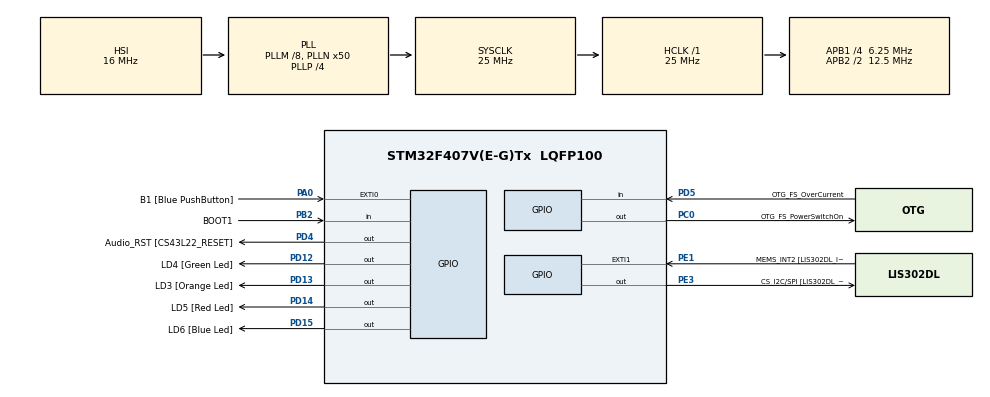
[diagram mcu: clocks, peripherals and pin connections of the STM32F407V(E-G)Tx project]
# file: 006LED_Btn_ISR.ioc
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Mcu.Family=STM32F4
Mcu.Name=STM32F407V(E-G)Tx
Mcu.Package=LQFP100
NVIC.EXTI0_IRQn=true\:6\:0\:true\:false\:true\:true\:true\:true
NVIC.PriorityGroup=NVIC_PRIORITYGROUP_4
NVIC.TIM6_DAC_IRQn=true\:15\:0\:false\:false\:true\:false\:true\:true
NVIC.TimeBase=TIM6_DAC_IRQn
NVIC.TimeBaseIP=TIM6
PA0-WKUP.GPIO_Label=B1 [Blue PushButton]
PA0-WKUP.GPIO_ModeDefaultEXTI=GPIO_MODE_IT_FALLING
PA0-WKUP.Signal=GPXTI0
PA10.GPIO_Label=OTG_FS_ID
PA10.GPIO_Mode=GPIO_MODE_AF_PP
PA10.GPIO_PuPd=GPIO_NOPULL
PA10.GPIO_Speed=GPIO_SPEED_FREQ_LOW
PA10.Signal=USB_OTG_FS_ID
PA11.GPIO_Label=OTG_FS_DM
PA11.GPIO_Mode=GPIO_MODE_AF_PP
PA11.GPIO_PuPd=GPIO_NOPULL
PA11.GPIO_Speed=GPIO_SPEED_FREQ_LOW
PA11.Signal=USB_OTG_FS_DM
PA12.GPIO_Label=OTG_FS_DP
PA12.GPIO_Mode=GPIO_MODE_AF_PP
PA12.GPIO_PuPd=GPIO_NOPULL
PA12.GPIO_Speed=GPIO_SPEED_FREQ_LOW
PA12.Signal=USB_OTG_FS_DP
PA13.GPIO_Label=SWDIO
PA13.Signal=SYS_JTMS-SWDIO
PA14.GPIO_Label=SWCLK
PA14.Signal=SYS_JTCK-SWCLK
PA4.GPIO_Label=I2S3_WS [CS43L22_LRCK]
PA4.GPIO_Mode=GPIO_MODE_AF_PP
PA4.GPIO_PuPd=GPIO_NOPULL
PA4.GPIO_Speed=GPIO_SPEED_FREQ_LOW
PA4.Signal=I2S3_WS
PA5.GPIO_Label=SPI1_SCK [LIS302DL_SCL/SPC]
PA5.GPIO_Mode=GPIO_MODE_AF_PP
PA5.GPIO_PuPd=GPIO_NOPULL
PA5.GPIO_Speed=GPIO_SPEED_FREQ_LOW
PA5.Signal=SPI1_SCK
PA6.GPIO_Label=SPI1_MISO [LIS302DL_SDO]
PA6.GPIO_Mode=GPIO_MODE_AF_PP
PA6.GPIO_PuPd=GPIO_NOPULL
PA6.GPIO_Speed=GPIO_SPEED_FREQ_LOW
PA6.Signal=SPI1_MISO
PA7.GPIO_Label=SPI1_MOSI [LIS302DL_SDA/SDI/SDO]
PA7.GPIO_Mode=GPIO_MODE_AF_PP
PA7.GPIO_PuPd=GPIO_NOPULL
PA7.GPIO_Speed=GPIO_SPEED_FREQ_LOW
PA7.Signal=SPI1_MOSI
PA9.GPIO_Label=VBUS_FS
PA9.GPIO_Mode=GPIO_MODE_INPUT
PA9.GPIO_PuPd=GPIO_NOPULL
PA9.Signal=USB_OTG_FS_VBUS
PB10.GPIO_Label=CLK_IN [MP45DT02_CLK]
PB10.GPIO_Mode=GPIO_MODE_AF_PP
PB10.GPIO_PuPd=GPIO_NOPULL
PB10.GPIO_Speed=GPIO_SPEED_FREQ_LOW
PB10.Signal=I2S2_CK
PB2.GPIO_Label=BOOT1
PB2.GPIO_Mode=GPIO_MODE_INPUT
PB2.GPIO_PuPd=GPIO_NOPULL
PB2.Signal=GPIO_Input
PB3.GPIO_Label=SWO
PB3.Signal=SYS_JTDO-SWO
PB6.GPIO_Label=Audio_SCL [CS43L22_SCL]
PB6.GPIO_Mode=GPIO_MODE_AF_OD
PB6.GPIO_PuPd=GPIO_NOPULL
PB6.GPIO_Speed=GPIO_SPEED_FREQ_LOW
PB6.Signal=I2C1_SCL
PB9.GPIO_Label=Audio_SDA [CS43L22_SDA]
PB9.GPIO_Mode=GPIO_MODE_AF_OD
PB9.GPIO_PuPd=GPIO_NOPULL
PB9.GPIO_Speed=GPIO_SPEED_FREQ_LOW
PB9.Signal=I2C1_SDA
PC0.GPIO_Label=OTG_FS_PowerSwitchOn
PC0.GPIO_PuPd=GPIO_NOPULL
PC0.GPIO_Speed=GPIO_SPEED_FREQ_LOW
PC0.PinState=GPIO_PIN_SET
PC0.Signal=GPIO_Output
PC10.GPIO_Label=I2S3_SCK [CS43L22_SCLK]
PC10.GPIO_Mode=GPIO_MODE_AF_PP
PC10.GPIO_PuPd=GPIO_NOPULL
PC10.GPIO_Speed=GPIO_SPEED_FREQ_LOW
PC10.Signal=I2S3_CK
PC12.GPIO_Label=I2S3_SD [CS43L22_SDIN]
PC12.GPIO_Mode=GPIO_MODE_AF_PP
PC12.GPIO_PuPd=GPIO_NOPULL
PC12.GPIO_Speed=GPIO_SPEED_FREQ_LOW
PC12.Signal=I2S3_SD
PC14-OSC32_IN.GPIO_Label=PC14-OSC32_IN
PC14-OSC32_IN.Signal=RCC_OSC32_IN
PC15-OSC32_OUT.GPIO_Label=PC15-OSC32_OUT
PC15-OSC32_OUT.Signal=RCC_OSC32_OUT
PC3.GPIO_Label=PDM_OUT [MP45DT02_DOUT]
PC3.GPIO_Mode=GPIO_MODE_AF_PP
PC3.GPIO_PuPd=GPIO_NOPULL
PC3.GPIO_Speed=GPIO_SPEED_FREQ_LOW
PC3.Signal=I2S2_SD
PC7.GPIO_Label=I2S3_MCK [CS43L22_MCLK]
PC7.GPIO_Mode=GPIO_MODE_AF_PP
PC7.GPIO_PuPd=GPIO_NOPULL
PC7.GPIO_Speed=GPIO_SPEED_FREQ_LOW
PC7.Signal=I2S3_MCK
PD12.GPIO_Label=LD4 [Green Led]
PD12.GPIO_PuPd=GPIO_NOPULL
PD12.GPIO_Speed=GPIO_SPEED_FREQ_LOW
PD12.Signal=GPIO_Output
PD13.GPIO_Label=LD3 [Orange Led]
PD13.GPIO_PuPd=GPIO_NOPULL
PD13.GPIO_Speed=GPIO_SPEED_FREQ_LOW
PD13.Signal=GPIO_Output
PD14.GPIO_Label=LD5 [Red Led]
PD14.GPIO_PuPd=GPIO_NOPULL
PD14.GPIO_Speed=GPIO_SPEED_FREQ_LOW
PD14.Signal=GPIO_Output
PD15.GPIO_Label=LD6 [Blue Led]
PD15.GPIO_PuPd=GPIO_NOPULL
PD15.GPIO_Speed=GPIO_SPEED_FREQ_LOW
PD15.Signal=GPIO_Output
PD4.GPIO_Label=Audio_RST [CS43L22_RESET]
PD4.GPIO_PuPd=GPIO_NOPULL
PD4.GPIO_Speed=GPIO_SPEED_FREQ_LOW
PD4.Signal=GPIO_Output
PD5.GPIO_Label=OTG_FS_OverCurrent
PD5.GPIO_Mode=GPIO_MODE_INPUT
PD5.GPIO_PuPd=GPIO_NOPULL
PD5.Signal=GPIO_Input
PE1.GPIO_Label=MEMS_INT2 [LIS302DL_INT2]
PE1.GPIO_ModeDefaultEXTI=GPIO_MODE_EVT_RISING
PE1.GPIO_PuPd=GPIO_NOPULL
PE1.Signal=GPXTI1
PE3.GPIO_Label=CS_I2C/SPI [LIS302DL_CS_I2C/SPI]
PE3.GPIO_PuPd=GPIO_NOPULL
PE3.GPIO_Speed=GPIO_SPEED_FREQ_LOW
PE3.Signal=GPIO_Output
PH0-OSC_IN.GPIO_Label=PH0-OSC_IN
PH0-OSC_IN.Signal=RCC_OSC_IN
PH1-OSC_OUT.GPIO_Label=PH1-OSC_OUT
PH1-OSC_OUT.Signal=RCC_OSC_OUT
ProjectManager.HeapSize=0x200
ProjectManager.StackSize=0x400
ProjectManager.TargetToolchain=STM32CubeIDE
RCC.48MHZClocksFreq_Value=14285714.285714285
RCC.AHBFreq_Value=25000000
RCC.APB1CLKDivider=RCC_HCLK_DIV4
RCC.APB1Freq_Value=6250000
RCC.APB1TimFreq_Value=12500000
RCC.APB2CLKDivider=RCC_HCLK_DIV2
RCC.APB2Freq_Value=12500000
RCC.APB2TimFreq_Value=25000000
RCC.CortexFreq_Value=25000000
RCC.HCLKFreq_Value=25000000
RCC.HSE_VALUE=8000000
RCC.HSI_VALUE=16000000
RCC.LSE_VALUE=32768
RCC.PLLM=8
RCC.PLLN=50
RCC.PLLP=RCC_PLLP_DIV4
RCC.PLLQ=7
RCC.SYSCLKFreq_VALUE=25000000
RCC.SYSCLKSource=RCC_SYSCLKSOURCE_PLLCLK
RCC.VCOOutputFreq_Value=100000000
VP_SYS_VS_tim6.Mode=TIM6
board=STM32F407G-DISC1

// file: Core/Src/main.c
/* USER CODE BEGIN Header */
/**
  ******************************************************************************
  * @file           : main.c
  * @brief          : Main program body
  ******************************************************************************
  * @attention
  *
  * <h2><center>&copy; Copyright (c) 2021 STMicroelectronics.
  * All rights reserved.</center></h2>
  *
  * This software component is licensed by ST under BSD 3-Clause license,
  * the "License"; You may not use this file except in compliance with the
  * License. You may obtain a copy of the License at:
  *                        opensource.org/licenses/BSD-3-Clause
  *
  ******************************************************************************
  */
/* USER CODE END Header */
#include "main.h"

/* USER CODE BEGIN Includes */

#include "FreeRTOS.h"
#include "task.h"

/* USER CODE END Includes */

/* USER CODE BEGIN PV */

#define DWT_CTRL    (*(volatile uint32_t*)0xE0001000)

/* USER CODE END PV */

void SystemClock_Config(void);
static void MX_GPIO_Init(void);
/* USER CODE BEGIN PFP */

static void led_green_handler(void* parameters);
static void led_orange_handler(void* parameters);
static void led_red_handler(void* parameters);
static void button_handler(void* parameters);

extern void SEGGER_UART_init(uint32_t);

TaskHandle_t ledg_task_handle;
TaskHandle_t ledo_task_handle;
TaskHandle_t ledr_task_handle;
TaskHandle_t btn_task_handle;

TaskHandle_t volatile next_task_handle = NULL;

/* USER CODE END PFP */

int main(void)
{
  /* USER CODE BEGIN 1 */

	BaseType_t status;

  /* USER CODE END 1 */

  /* MCU Configuration--------------------------------------------------------*/

  /* Reset of all peripherals, Initializes the Flash interface and the Systick. */
  HAL_Init();

  /* Configure the system clock */
  SystemClock_Config();

  /* Initialize all configured peripherals */
  MX_GPIO_Init();
  /* USER CODE BEGIN 2 */

  SEGGER_UART_init(500000);

  //CYCLCNT enable
  DWT_CTRL |= ( 1 << 0);

  SEGGER_SYSVIEW_Conf();

  status = xTaskCreate(led_green_handler, "LED_green_task", 200, NULL, 3, &ledg_task_handle);

  configASSERT(status == pdPASS);

  next_task_handle = ledg_task_handle;

  status = xTaskCreate(led_orange_handler, "LED_orange_task", 200, NULL, 2, &ledo_task_handle);

   configASSERT(status == pdPASS);

  status = xTaskCreate(led_red_handler, "LED_red_task", 200,NULL, 1, &ledr_task_handle);

  configASSERT(status == pdPASS);

  status = xTaskCreate(button_handler, "Button Task", 200, NULL, 4, &btn_task_handle);

  configASSERT(status == pdPASS);

  //start the freeRTOS scheduler
  vTaskStartScheduler();

  /* USER CODE END 2 */

  /* Infinite loop */
  while (1)
  {

  }
}

void SystemClock_Config(void)
{
  RCC_OscInitTypeDef RCC_OscInitStruct = {0};
  RCC_ClkInitTypeDef RCC_ClkInitStruct = {0};

  /** Configure the main internal regulator output voltage
  */
  __HAL_RCC_PWR_CLK_ENABLE();
  __HAL_PWR_VOLTAGESCALING_CONFIG(PWR_REGULATOR_VOLTAGE_SCALE1);

  /** Initializes the RCC Oscillators according to the specified parameters
  * in the RCC_OscInitTypeDef structure.
  */
  RCC_OscInitStruct.OscillatorType = RCC_OSCILLATORTYPE_HSI;
  RCC_OscInitStruct.HSIState = RCC_HSI_ON;
  RCC_OscInitStruct.HSICalibrationValue = RCC_HSICALIBRATION_DEFAULT;
  RCC_OscInitStruct.PLL.PLLState = RCC_PLL_ON;
  RCC_OscInitStruct.PLL.PLLSource = RCC_PLLSOURCE_HSI;
  RCC_OscInitStruct.PLL.PLLM = 8;
  RCC_OscInitStruct.PLL.PLLN = 50;
  RCC_OscInitStruct.PLL.PLLP = RCC_PLLP_DIV4;
  RCC_OscInitStruct.PLL.PLLQ = 7;
  if (HAL_RCC_OscConfig(&RCC_OscInitStruct) != HAL_OK)
  {
    Error_Handler();
  }

  /** Initializes the CPU, AHB and APB buses clocks
  */
  RCC_ClkInitStruct.ClockType = RCC_CLOCKTYPE_HCLK|RCC_CLOCKTYPE_SYSCLK
                              |RCC_CLOCKTYPE_PCLK1|RCC_CLOCKTYPE_PCLK2;
  RCC_ClkInitStruct.SYSCLKSource = RCC_SYSCLKSOURCE_PLLCLK;
  RCC_ClkInitStruct.AHBCLKDivider = RCC_SYSCLK_DIV1;
  RCC_ClkInitStruct.APB1CLKDivider = RCC_HCLK_DIV4;
  RCC_ClkInitStruct.APB2CLKDivider = RCC_HCLK_DIV2;

  if (HAL_RCC_ClockConfig(&RCC_ClkInitStruct, FLASH_LATENCY_0) != HAL_OK)
  {
    Error_Handler();
  }
}

static void MX_GPIO_Init(void)
{
  GPIO_InitTypeDef GPIO_InitStruct = {0};

  /* GPIO Ports Clock Enable */
  __HAL_RCC_GPIOE_CLK_ENABLE();
  __HAL_RCC_GPIOC_CLK_ENABLE();
  __HAL_RCC_GPIOH_CLK_ENABLE();
  __HAL_RCC_GPIOA_CLK_ENABLE();
  __HAL_RCC_GPIOB_CLK_ENABLE();
  __HAL_RCC_GPIOD_CLK_ENABLE();

  /*Configure GPIO pin Output Level */
  HAL_GPIO_WritePin(CS_I2C_SPI_GPIO_Port, CS_I2C_SPI_Pin, GPIO_PIN_RESET);

  /*Configure GPIO pin Output Level */
  HAL_GPIO_WritePin(OTG_FS_PowerSwitchOn_GPIO_Port, OTG_FS_PowerSwitchOn_Pin, GPIO_PIN_SET);

  /*Configure GPIO pin Output Level */
  HAL_GPIO_WritePin(GPIOD, LD4_Pin|LD3_Pin|LD5_Pin|LD6_Pin
                          |Audio_RST_Pin, GPIO_PIN_RESET);

  /*Configure GPIO pin : CS_I2C_SPI_Pin */
  GPIO_InitStruct.Pin = CS_I2C_SPI_Pin;
  GPIO_InitStruct.Mode = GPIO_MODE_OUTPUT_PP;
  GPIO_InitStruct.Pull = GPIO_NOPULL;
  GPIO_InitStruct.Speed = GPIO_SPEED_FREQ_LOW;
  HAL_GPIO_Init(CS_I2C_SPI_GPIO_Port, &GPIO_InitStruct);

  /*Configure GPIO pin : OTG_FS_PowerSwitchOn_Pin */
  GPIO_InitStruct.Pin = OTG_FS_PowerSwitchOn_Pin;
  GPIO_InitStruct.Mode = GPIO_MODE_OUTPUT_PP;
  GPIO_InitStruct.Pull = GPIO_NOPULL;
  GPIO_InitStruct.Speed = GPIO_SPEED_FREQ_LOW;
  HAL_GPIO_Init(OTG_FS_PowerSwitchOn_GPIO_Port, &GPIO_InitStruct);

  /*Configure GPIO pin : PDM_OUT_Pin */
  GPIO_InitStruct.Pin = PDM_OUT_Pin;
  GPIO_InitStruct.Mode = GPIO_MODE_AF_PP;
  GPIO_InitStruct.Pull = GPIO_NOPULL;
  GPIO_InitStruct.Speed = GPIO_SPEED_FREQ_LOW;
  GPIO_InitStruct.Alternate = GPIO_AF5_SPI2;
  HAL_GPIO_Init(PDM_OUT_GPIO_Port, &GPIO_InitStruct);

  /*Configure GPIO pin : B1_Pin */
  GPIO_InitStruct.Pin = B1_Pin;
  GPIO_InitStruct.Mode = GPIO_MODE_IT_RISING;
  GPIO_InitStruct.Pull = GPIO_NOPULL;
  HAL_GPIO_Init(B1_GPIO_Port, &GPIO_InitStruct);

  /*Configure GPIO pin : I2S3_WS_Pin */
  GPIO_InitStruct.Pin = I2S3_WS_Pin;
  GPIO_InitStruct.Mode = GPIO_MODE_AF_PP;
  GPIO_InitStruct.Pull = GPIO_NOPULL;
  GPIO_InitStruct.Speed = GPIO_SPEED_FREQ_LOW;
  GPIO_InitStruct.Alternate = GPIO_AF6_SPI3;
  HAL_GPIO_Init(I2S3_WS_GPIO_Port, &GPIO_InitStruct);

  /*Configure GPIO pins : SPI1_SCK_Pin SPI1_MISO_Pin SPI1_MOSI_Pin */
  GPIO_InitStruct.Pin = SPI1_SCK_Pin|SPI1_MISO_Pin|SPI1_MOSI_Pin;
  GPIO_InitStruct.Mode = GPIO_MODE_AF_PP;
  GPIO_InitStruct.Pull = GPIO_NOPULL;
  GPIO_InitStruct.Speed = GPIO_SPEED_FREQ_LOW;
  GPIO_InitStruct.Alternate = GPIO_AF5_SPI1;
  HAL_GPIO_Init(GPIOA, &GPIO_InitStruct);

  /*Configure GPIO pin : BOOT1_Pin */
  GPIO_InitStruct.Pin = BOOT1_Pin;
  GPIO_InitStruct.Mode = GPIO_MODE_INPUT;
  GPIO_InitStruct.Pull = GPIO_NOPULL;
  HAL_GPIO_Init(BOOT1_GPIO_Port, &GPIO_InitStruct);

  /*Configure GPIO pin : CLK_IN_Pin */
  GPIO_InitStruct.Pin = CLK_IN_Pin;
  GPIO_InitStruct.Mode = GPIO_MODE_AF_PP;
  GPIO_InitStruct.Pull = GPIO_NOPULL;
  GPIO_InitStruct.Speed = GPIO_SPEED_FREQ_LOW;
  GPIO_InitStruct.Alternate = GPIO_AF5_SPI2;
  HAL_GPIO_Init(CLK_IN_GPIO_Port, &GPIO_InitStruct);

  /*Configure GPIO pins : LD4_Pin LD3_Pin LD5_Pin LD6_Pin
                           Audio_RST_Pin */
  GPIO_InitStruct.Pin = LD4_Pin|LD3_Pin|LD5_Pin|LD6_Pin
                          |Audio_RST_Pin;
  GPIO_InitStruct.Mode = GPIO_MODE_OUTPUT_PP;
  GPIO_InitStruct.Pull = GPIO_NOPULL;
  GPIO_InitStruct.Speed = GPIO_SPEED_FREQ_LOW;
  HAL_GPIO_Init(GPIOD, &GPIO_InitStruct);

  /*Configure GPIO pins : I2S3_MCK_Pin I2S3_SCK_Pin I2S3_SD_Pin */
  GPIO_InitStruct.Pin = I2S3_MCK_Pin|I2S3_SCK_Pin|I2S3_SD_Pin;
  GPIO_InitStruct.Mode = GPIO_MODE_AF_PP;
  GPIO_InitStruct.Pull = GPIO_NOPULL;
  GPIO_InitStruct.Speed = GPIO_SPEED_FREQ_LOW;
  GPIO_InitStruct.Alternate = GPIO_AF6_SPI3;
  HAL_GPIO_Init(GPIOC, &GPIO_InitStruct);

  /*Configure GPIO pin : VBUS_FS_Pin */
  GPIO_InitStruct.Pin = VBUS_FS_Pin;
  GPIO_InitStruct.Mode = GPIO_MODE_INPUT;
  GPIO_InitStruct.Pull = GPIO_NOPULL;
  HAL_GPIO_Init(VBUS_FS_GPIO_Port, &GPIO_InitStruct);

  /*Configure GPIO pins : OTG_FS_ID_Pin OTG_FS_DM_Pin OTG_FS_DP_Pin */
  GPIO_InitStruct.Pin = OTG_FS_ID_Pin|OTG_FS_DM_Pin|OTG_FS_DP_Pin;
  GPIO_InitStruct.Mode = GPIO_MODE_AF_PP;
  GPIO_InitStruct.Pull = GPIO_NOPULL;
  GPIO_InitStruct.Speed = GPIO_SPEED_FREQ_LOW;
  GPIO_InitStruct.Alternate = GPIO_AF10_OTG_FS;
  HAL_GPIO_Init(GPIOA, &GPIO_InitStruct);

  /*Configure GPIO pin : OTG_FS_OverCurrent_Pin */
  GPIO_InitStruct.Pin = OTG_FS_OverCurrent_Pin;
  GPIO_InitStruct.Mode = GPIO_MODE_INPUT;
  GPIO_InitStruct.Pull = GPIO_NOPULL;
  HAL_GPIO_Init(OTG_FS_OverCurrent_GPIO_Port, &GPIO_InitStruct);

  /*Configure GPIO pins : Audio_SCL_Pin Audio_SDA_Pin */
  GPIO_InitStruct.Pin = Audio_SCL_Pin|Audio_SDA_Pin;
  GPIO_InitStruct.Mode = GPIO_MODE_AF_OD;
  GPIO_InitStruct.Pull = GPIO_NOPULL;
  GPIO_InitStruct.Speed = GPIO_SPEED_FREQ_LOW;
  GPIO_InitStruct.Alternate = GPIO_AF4_I2C1;
  HAL_GPIO_Init(GPIOB, &GPIO_InitStruct);

  /*Configure GPIO pin : MEMS_INT2_Pin */
  GPIO_InitStruct.Pin = MEMS_INT2_Pin;
  GPIO_InitStruct.Mode = GPIO_MODE_EVT_RISING;
  GPIO_InitStruct.Pull = GPIO_NOPULL;
  HAL_GPIO_Init(MEMS_INT2_GPIO_Port, &GPIO_InitStruct);

}

/* USER CODE BEGIN 4 */
void button_interrupt_handler(void){
	BaseType_t pxHigherPriorityTaskWoken;
	pxHigherPriorityTaskWoken = pdFALSE;
	traceISR_ENTER();
	xTaskNotifyFromISR(next_task_handle, 0, eNoAction,&pxHigherPriorityTaskWoken);
	portYIELD_FROM_ISR(pxHigherPriorityTaskWoken);
	traceISR_EXIT();
}

static void led_green_handler(void* parameters)
{
	BaseType_t  status;
	while(1)
	{
		SEGGER_SYSVIEW_PrintfTarget("Toggling green LED");
		HAL_GPIO_TogglePin(GPIOD, LED_GREEN_PIN);
		status = xTaskNotifyWait(0,0,NULL,pdMS_TO_TICKS(1000));
		if(status == pdTRUE){
			//vTaskSuspendAll();
			portENTER_CRITICAL();
			next_task_handle = ledo_task_handle;
			//xTaskResumeAll();
			HAL_GPIO_WritePin(GPIOD, LED_GREEN_PIN,GPIO_PIN_SET);
			SEGGER_SYSVIEW_PrintfTarget("Delete green LED task");
			portEXIT_CRITICAL();
			vTaskDelete(NULL);
		}

	}
}

static void led_orange_handler(void* parameters)
{
	BaseType_t  status;

	while(1)
	{
		SEGGER_SYSVIEW_PrintfTarget("Toggling orange LED");
		HAL_GPIO_TogglePin(GPIOD, LED_ORANGE_PIN );
		status = xTaskNotifyWait(0,0,NULL,pdMS_TO_TICKS(800));
		if(status == pdTRUE){
			//vTaskSuspendAll();
			portENTER_CRITICAL();
			next_task_handle = ledo_task_handle;
			//xTaskResumeAll();
			HAL_GPIO_WritePin(GPIOD, LED_ORANGE_PIN,GPIO_PIN_SET);
			SEGGER_SYSVIEW_PrintfTarget("Delete orange LED task");
			portEXIT_CRITICAL();
			vTaskDelete(NULL);
		}

	}
}

static void led_red_handler(void* parameters)
{
	BaseType_t  status;

	while(1)
	{
		SEGGER_SYSVIEW_PrintfTarget("Toggling red LED");
		HAL_GPIO_TogglePin(GPIOD, LED_RED_PIN);
		status = xTaskNotifyWait(0,0,NULL,pdMS_TO_TICKS(400));
		if(status == pdTRUE){
			//vTaskSuspendAll();
			portENTER_CRITICAL();
			next_task_handle = ledo_task_handle;
			//xTaskResumeAll();
			HAL_GPIO_WritePin(GPIOD, LED_RED_PIN,GPIO_PIN_SET);
			SEGGER_SYSVIEW_PrintfTarget("Delete red LED task");
			portEXIT_CRITICAL();
			//vTaskDelete(btn_task_handle);

			vTaskDelete(NULL);
		}

	}

}

static void button_handler(void* parameters)
{
	uint8_t btn_read = 0;
	uint8_t prev_read = 0;

	while(1){

		btn_read = HAL_GPIO_ReadPin(GPIOA, GPIO_PIN_0);

		if(btn_read)
		{
			if(! prev_read)
				xTaskNotify(next_task_handle,0,eNoAction);
		}
		prev_read = btn_read;
		vTaskDelay(pdMS_TO_TICKS(10));

	}

}
/* USER CODE END 4 */

void HAL_TIM_PeriodElapsedCallback(TIM_HandleTypeDef *htim)
{
  if (htim->Instance == TIM6) {
    HAL_IncTick();
  }
}

void Error_Handler(void)
{
}
